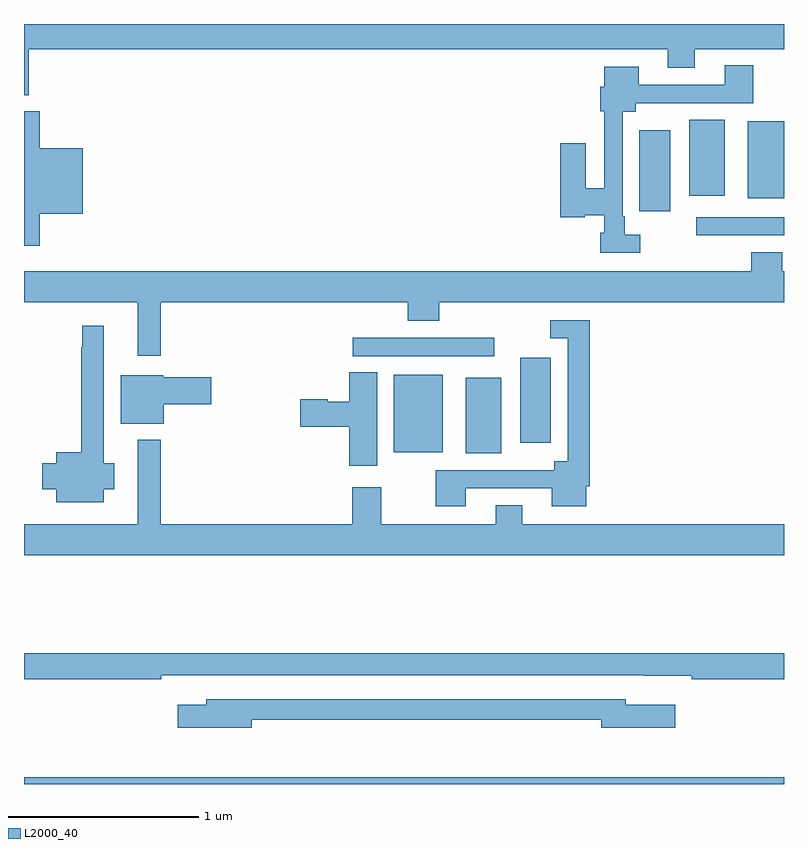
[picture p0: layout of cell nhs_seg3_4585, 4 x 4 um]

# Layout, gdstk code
import gdstk
lib = gdstk.Library(unit=1e-6, precision=1e-09)
def R(c, l, rs):  # rectangles x0, y0, x1, y1
    for r in rs: c.add(gdstk.rectangle(r[:2], r[2:], *l))
def P(c, l, *ps):  # polygons
    for p in ps: c.add(gdstk.Polygon(p, *l))
L2000_40 = (2000, 40)

nhs_seg3_4585 = lib.new_cell('nhs_seg3_4585')
R(nhs_seg3_4585, L2000_40, [(357,678.4,361,678.436), (359.324,680.141,359.512,680.539), (358.946,680.147,359.203,680.554), (359.612,680.196,359.773,680.644), (358.731,680.652,359.476,680.748), (360.537,681.288,361,681.384), (360.239,681.414,360.4,681.841), (360.809,681.482,361,681.889), (360.5,681.497,360.688,681.895)])
P(nhs_seg3_4585, L2000_40, [(357.026,682.268),(360.389,682.268),(360.389,682.169),(360.529,682.169),(360.529,682.268),(361,682.268),(361,682.4),(357,682.4),(357,682.025),(357.026,682.025)],
  [(360.244,681.291),(360.162,681.291),(360.162,681.388),(360.15,681.388),(360.15,681.938),(360.22,681.938),(360.22,681.984),(360.837,681.984),(360.837,682.183),(360.689,682.183),(360.689,682.08),(360.235,682.08),(360.235,682.174),(360.053,682.174),(360.053,682.07),(360.034,682.07),(360.034,681.942),(360.054,681.942),(360.054,681.536),(359.956,681.536),(359.956,681.772),(359.822,681.772),(359.822,681.383),(359.952,681.383),(359.952,681.394),(360.054,681.394),(360.054,681.302),(360.034,681.302),(360.034,681.195),(360.244,681.195)],
  [(357.083,681.401),(357.31,681.401),(357.31,681.745),(357.083,681.745),(357.083,681.94),(357,681.94),(357,681.233),(357.083,681.233)],
  [(360.827,681.199),(360.827,681.1),(357,681.1),(357,680.936),(357.599,680.936),(357.599,680.655),(357.721,680.655),(357.721,680.936),(359.021,680.936),(359.021,680.837),(359.186,680.837),(359.186,680.936),(361,680.936),(361,681.1),(360.992,681.1),(360.992,681.199)],
  [(359.326,679.956),(359.777,679.956),(359.777,679.862),(359.959,679.862),(359.959,679.966),(359.978,679.966),(359.978,680.841),(359.769,680.841),(359.769,680.745),(359.862,680.745),(359.862,680.098),(359.792,680.098),(359.792,680.052),(359.168,680.052),(359.168,679.862),(359.326,679.862)],
  [(357.421,679.952),(357.475,679.952),(357.475,680.087),(357.421,680.087),(357.421,680.812),(357.307,680.812),(357.307,680.699),(357.3,680.699),(357.3,680.146),(357.17,680.146),(357.17,680.087),(357.095,680.087),(357.095,679.952),(357.17,679.952),(357.17,679.883),(357.421,679.883)],
  [(358.858,680.567),(358.712,680.567),(358.712,680.413),(358.598,680.413),(358.598,680.426),(358.455,680.426),(358.455,680.279),(358.712,680.279),(358.712,680.076),(358.858,680.076)],
  [(357.736,680.399),(357.985,680.399),(357.985,680.541),(357.732,680.541),(357.732,680.551),(357.509,680.551),(357.509,680.297),(357.736,680.297)],
  [(361,679.768),(359.623,679.768),(359.623,679.867),(359.483,679.867),(359.483,679.768),(358.879,679.768),(358.879,679.963),(358.727,679.963),(358.727,679.768),(357.721,679.768),(357.721,680.212),(357.599,680.212),(357.599,679.768),(357,679.768),(357,679.604),(361,679.604)],
  [(357.722,678.972),(360.262,678.972),(360.262,678.971),(360.514,678.971),(360.514,678.952),(361,678.952),(361,679.088),(357,679.088),(357,678.952),(357.722,678.952)],
  [(358.198,678.738),(360.038,678.738),(360.038,678.695),(360.427,678.695),(360.427,678.817),(360.166,678.817),(360.166,678.846),(357.959,678.846),(357.959,678.817),(357.81,678.817),(357.81,678.695),(358.198,678.695)])

lib.write_gds('nhs_seg3_4585.gds')
